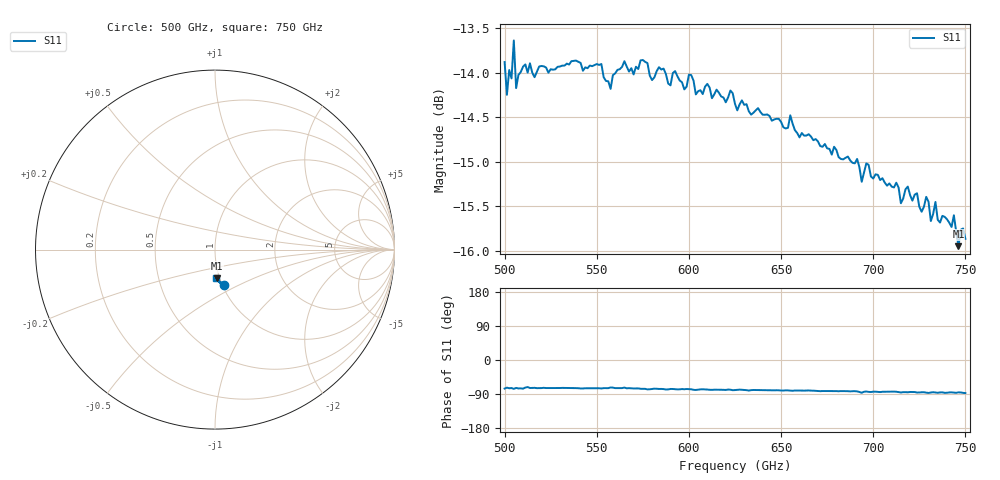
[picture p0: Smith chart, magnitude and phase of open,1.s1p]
!Created with mwavepy.
# GHz S RI R 50.0
!freq	ReS11	ImS11
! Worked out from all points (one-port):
!   201 points, 500 GHz to 750 GHz, reference 50 ohm
!   lowest |S11| = -15.9 dB at 746.2 GHz (marker M1), VSWR 1.38, Z = 48.7 - j15.9 ohm
!   |S11| at or under -10 dB: start of sweep to end of sweep
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500  0.051 -0.1958
! Port Impedance 50.00000000000000 0.00000000000000
501.25  0.0566 -0.1855
502.5  0.0534 -0.193
503.75  0.0545 -0.1904
505  0.0498 -0.202
506.25  0.055 -0.1877
511.25  0.0598 -0.1926
531.25  0.0569 -0.1932
552.5  0.0519 -0.195
557.5  0.0587 -0.1864
562.5  0.0546 -0.1929
593.75  0.0427 -0.194
625  0.0355 -0.1883
656.25  0.0283 -0.1847
687.5  0.0222 -0.1768
693.75  0.0108 -0.173
696.25  0.0211 -0.1762
712.5  0.0188 -0.1721
715  0.0127 -0.1681
718.75  0.0143 -0.1716
726.25  0.0141 -0.1661
728.75  0.0114 -0.1696
731.25  0.0121 -0.1643
733.75  0.0124 -0.1684
736.25  0.0128 -0.1639
743.75  0.0117 -0.1656
746.25  0.0129 -0.159
750  0.00755 -0.1608
